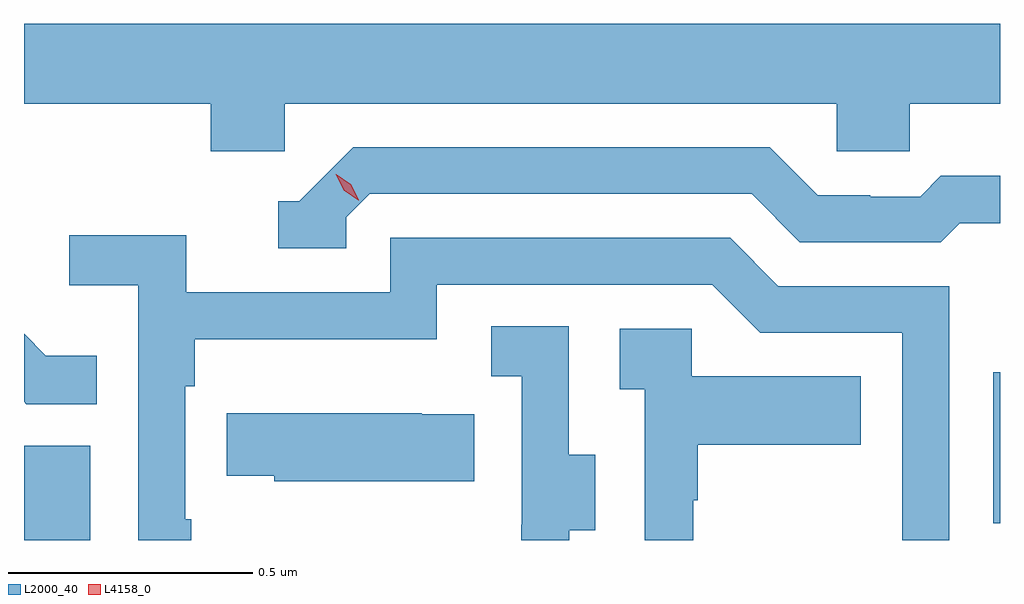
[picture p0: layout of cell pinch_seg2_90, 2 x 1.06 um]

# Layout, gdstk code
import gdstk
lib = gdstk.Library(unit=1e-6, precision=1e-09)
def R(c, l, rs):  # rectangles x0, y0, x1, y1
    for r in rs: c.add(gdstk.rectangle(r[:2], r[2:], *l))
def P(c, l, *ps):  # polygons
    for p in ps: c.add(gdstk.Polygon(p, *l))
L2000_40 = (2000, 40)
L4158_0 = (4158, 0)

pinch_seg2_90 = lib.new_cell('pinch_seg2_90')
R(pinch_seg2_90, L2000_40, [(1058.694,654.733,1058.83,654.927), (1060.68,654.768,1060.694,655.078)])
P(pinch_seg2_90, L2000_40, [(1059.228,655.628),(1060.359,655.628),(1060.359,655.53),(1060.509,655.53),(1060.509,655.628),(1060.694,655.628),(1060.694,655.792),(1058.694,655.792),(1058.694,655.628),(1059.077,655.628),(1059.077,655.53),(1059.228,655.53)],
  [(1059.354,655.395),(1059.402,655.443),(1060.185,655.443),(1060.284,655.344),(1060.573,655.344),(1060.612,655.383),(1060.694,655.383),(1060.694,655.48),(1060.573,655.48),(1060.531,655.437),(1060.428,655.437),(1060.428,655.44),(1060.321,655.44),(1060.222,655.539),(1059.369,655.539),(1059.258,655.428),(1059.215,655.428),(1059.215,655.332),(1059.354,655.332)],
  [(1059.037,654.776),(1059.024,654.776),(1059.024,655.049),(1059.044,655.049),(1059.044,655.145),(1059.54,655.145),(1059.54,655.257),(1060.104,655.257),(1060.203,655.158),(1060.494,655.158),(1060.494,654.733),(1060.59,654.733),(1060.59,655.254),(1060.24,655.254),(1060.141,655.353),(1059.444,655.353),(1059.444,655.242),(1059.026,655.242),(1059.026,655.358),(1058.787,655.358),(1058.787,655.256),(1058.928,655.256),(1058.928,654.733),(1059.037,654.733)],
  [(1059.811,654.754),(1059.865,654.754),(1059.865,654.909),(1059.81,654.909),(1059.81,655.172),(1059.651,655.172),(1059.651,655.069),(1059.714,655.069),(1059.714,654.765),(1059.713,654.765),(1059.713,654.733),(1059.811,654.733)],
  [(1060.065,654.815),(1060.075,654.815),(1060.075,654.929),(1060.409,654.929),(1060.409,655.069),(1060.062,655.069),(1060.062,655.167),(1059.915,655.167),(1059.915,655.043),(1059.966,655.043),(1059.966,654.733),(1060.065,654.733)],
  [(1058.843,655.111),(1058.739,655.111),(1058.694,655.156),(1058.694,655.017),(1058.699,655.012),(1058.843,655.012)],
  [(1059.617,654.991),(1059.509,654.991),(1059.509,654.994),(1059.109,654.994),(1059.109,654.865),(1059.207,654.865),(1059.207,654.854),(1059.617,654.854)])
P(pinch_seg2_90, L4158_0, [(1059.379,655.43),(1059.349,655.45),(1059.333,655.483),(1059.333,655.483),(1059.334,655.483),(1059.364,655.463),(1059.38,655.431),(1059.38,655.43)])

lib.write_gds('pinch_seg2_90.gds')
